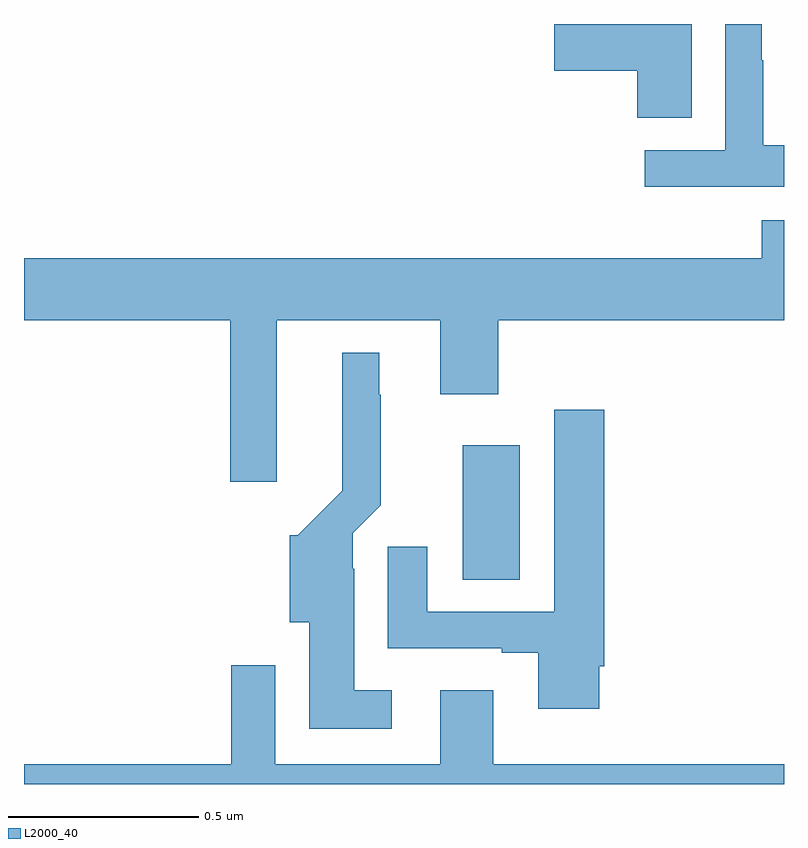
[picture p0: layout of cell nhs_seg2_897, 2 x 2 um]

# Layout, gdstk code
import gdstk
lib = gdstk.Library(unit=1e-6, precision=1e-09)
def R(c, l, rs):  # rectangles x0, y0, x1, y1
    for r in rs: c.add(gdstk.rectangle(r[:2], r[2:], *l))
def P(c, l, *ps):  # polygons
    for p in ps: c.add(gdstk.Polygon(p, *l))
L2000_40 = (2000, 40)

nhs_seg2_897 = lib.new_cell('nhs_seg2_897')
R(nhs_seg2_897, L2000_40, [(123.155,596.338,123.304,596.692)])
P(nhs_seg2_897, L2000_40, [(123.757,597.8),(123.396,597.8),(123.396,597.677),(123.614,597.677),(123.614,597.553),(123.757,597.553)],
  [(124,597.481),(123.945,597.481),(123.945,597.704),(123.942,597.704),(123.942,597.8),(123.846,597.8),(123.846,597.468),(123.633,597.468),(123.633,597.372),(124,597.372)],
  [(122.665,597.02),(123.095,597.02),(123.095,596.826),(123.248,596.826),(123.248,597.02),(124,597.02),(124,597.283),(123.941,597.283),(123.941,597.184),(122,597.184),(122,597.02),(122.543,597.02),(122.543,596.595),(122.665,596.595)],
  [(122.968,596.047),(122.869,596.047),(122.869,596.366),(122.865,596.366),(122.865,596.46),(122.939,596.534),(122.939,596.825),(122.935,596.825),(122.935,596.935),(122.837,596.935),(122.837,596.674),(122.838,596.674),(122.838,596.572),(122.72,596.454),(122.699,596.454),(122.699,596.226),(122.75,596.226),(122.75,595.946),(122.968,595.946)],
  [(123.514,596.11),(123.527,596.11),(123.527,596.785),(123.395,596.785),(123.395,596.253),(123.061,596.253),(123.061,596.425),(122.957,596.425),(122.957,596.157),(123.257,596.157),(123.257,596.145),(123.353,596.145),(123.353,595.998),(123.514,595.998)],
  [(124,595.852),(123.235,595.852),(123.235,596.047),(123.095,596.047),(123.095,595.852),(122.661,595.852),(122.661,596.113),(122.545,596.113),(122.545,595.852),(122,595.852),(122,595.8),(124,595.8)])

lib.write_gds('nhs_seg2_897.gds')
